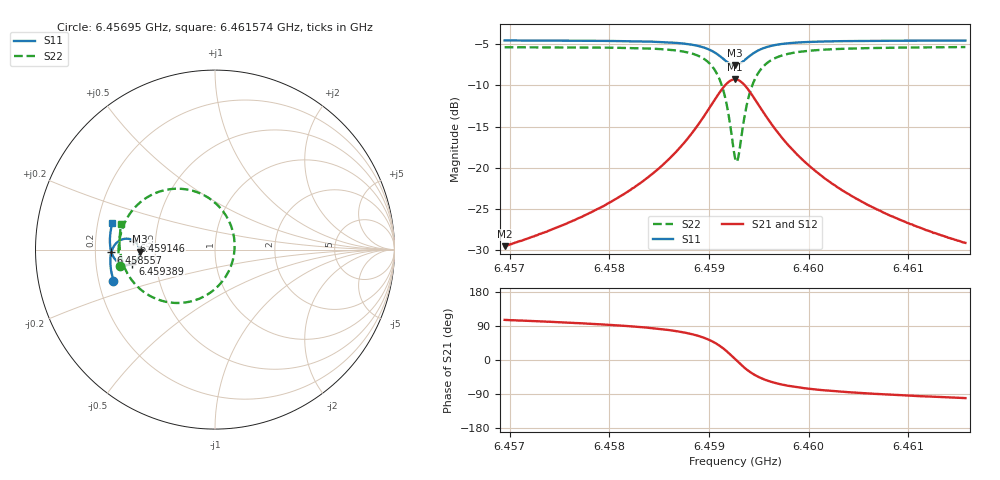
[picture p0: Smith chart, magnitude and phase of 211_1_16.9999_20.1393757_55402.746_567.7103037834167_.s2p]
#  HZ  S  RI  R  50.00
! Rohde & Schwarz Vector Network Analyzer
! Rohde-Schwarz,ZNB20-2Port,1311601062101988,3.16
! Created: UTC 3/20/2024, 11:01:27 PM
! freq[Hz]  re:S11  im:S11  re:S21  im:S21  re:S12  im:S12  re:S22  im:S22
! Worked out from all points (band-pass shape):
!   401 points, 6.45695 GHz to 6.461574 GHz, reference 50 ohm
!   highest |S21| = -9.26 dB at 6.459262 GHz (marker M1); lowest = -29.5 dB at 6.45695 GHz (marker M2)
!   |S21| within 3 dB of the highest: 6.459031 GHz to 6.459493 GHz (462.3 kHz wide, 0.00716 % of centre)
!   lowest |S11| = -7.6 dB at 6.459262 GHz (marker M3), VSWR 2.44, Z = 20.5 - j0.608 ohm
!   |S11| at or under -10 dB: nowhere
!   |S22| runs from -19.2 to -5.4 dB; largest |S21 - S12| = 0.013
!   S11 on the Smith chart (normalised r, x): 6.45695 GHz: 0.26, -0.14; 6.458557 GHz: 0.27, -0.01; 6.459146 GHz: 0.37, +0.05; 6.459389 GHz: 0.37, -0.07; 6.461574 GHz: 0.26, +0.12
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6.45695e9  -0.5656 -0.1755  -0.00919 0.0322  -0.00739 0.0323  -0.531 -0.0902
6.4577245e9  -0.5801 -0.108  -0.00593 0.0501  -0.00342 0.0496  -0.5374 -4.99e-05
6.4581406e9  -0.5832 -0.0664  -0.000396 0.069  0.00285 0.0676  -0.5301 0.0654
6.458499e9  -0.5796 -0.0238  0.0135 0.0984  0.0175 0.0958  -0.5052 0.1454
6.4585568e9  -0.578 -0.0158  0.0178 0.1053  0.0219 0.1023  -0.4971 0.162
6.4587649e9  -0.565 0.0164  0.045 0.138  0.0492 0.133  -0.4461 0.2351
6.4589151e9  -0.5425 0.0428  0.09 0.1685  0.0934 0.1619  -0.3632 0.3
6.4590539e9  -0.4989 0.0605  0.177 0.1854  0.178 0.178  -0.2048 0.3394
6.4591463e9  -0.4544 0.0504  0.2667 0.1546  0.2671 0.1486  -0.0384 0.2899
6.4592157e9  -0.4254 0.0185  0.3272 0.0831  0.3294 0.0777  0.0768 0.1614
6.4592619e9  -0.4184 -0.0122  0.3438 0.0155  0.3474 0.00856  0.1092 0.0353
6.4592735e9  -0.4189 -0.0204  0.3436 -0.00219  0.3474 -0.00974  0.109 0.00179
6.4592966e9  -0.4223 -0.0359  0.338 -0.0367  0.342 -0.0458  0.0981 -0.0637
6.4593428e9  -0.4379 -0.062  0.3099 -0.0963  0.3121 -0.1082  0.0411 -0.1763
6.4593891e9  -0.4598 -0.0781  0.2682 -0.1374  0.2673 -0.1505  -0.0431 -0.2509
6.4594816e9  -0.5029 -0.085  0.1841 -0.1686  0.1781 -0.1801  -0.2107 -0.2975
6.4596318e9  -0.5466 -0.0646  0.0966 -0.1553  0.0882 -0.1616  -0.3773 -0.2493
6.4597937e9  -0.5683 -0.037  0.0517 -0.1278  0.0443 -0.1306  -0.4577 -0.1779
6.4600364e9  -0.581 -0.00151  0.0227 -0.0966  0.0169 -0.0972  -0.5059 -0.0959
6.4603832e9  -0.5856 0.0396  0.00664 -0.07  0.0026 -0.0697  -0.5277 -0.0171
6.4608109e9  -0.5839 0.0824  -0.00125 -0.0516  -0.00399 -0.0507  -0.5322 0.0511
6.4615739e9  -0.5717 0.1501  -0.00641 -0.0345  -0.00804 -0.0335  -0.5213 0.1409
